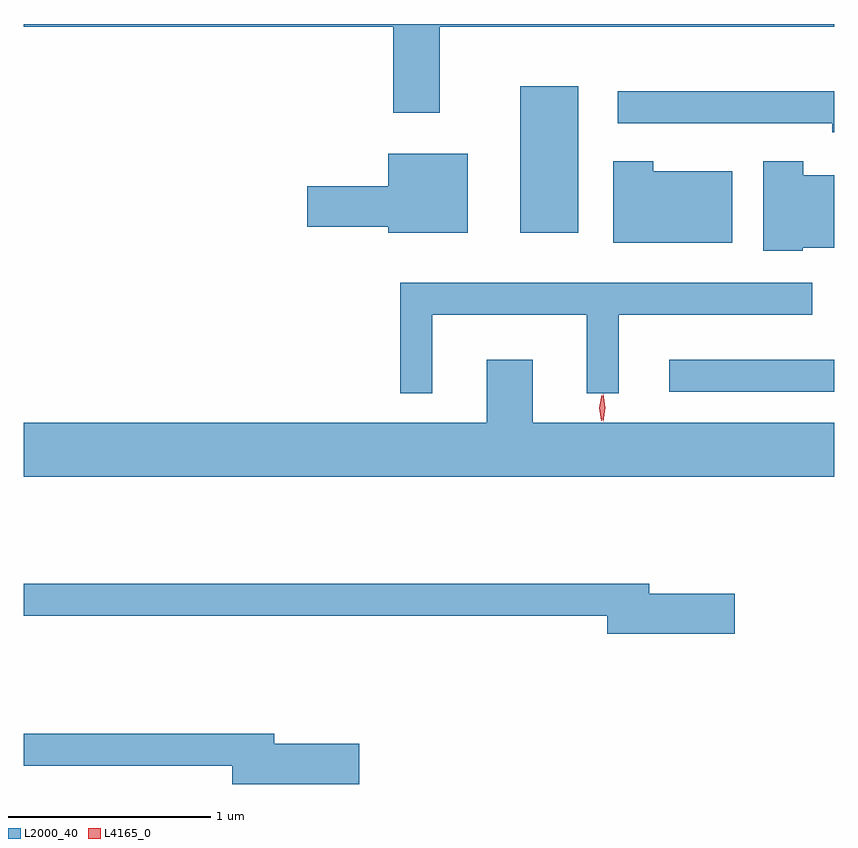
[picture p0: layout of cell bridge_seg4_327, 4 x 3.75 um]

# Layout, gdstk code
import gdstk
lib = gdstk.Library(unit=1e-6, precision=1e-09)
def R(c, l, rs):  # rectangles x0, y0, x1, y1
    for r in rs: c.add(gdstk.rectangle(r[:2], r[2:], *l))
def P(c, l, *ps):  # polygons
    for p in ps: c.add(gdstk.Polygon(p, *l))
L2000_40 = (2000, 40)
L4165_0 = (4165, 0)

bridge_seg4_327 = lib.new_cell('bridge_seg4_327')
R(bridge_seg4_327, L2000_40, [(726.913,1319.576,727.727,1319.734), (726.176,1320.361,726.464,1321.084)])
P(bridge_seg4_327, L2000_40, [(725.779,1321.376),(727.727,1321.376),(727.727,1321.39),(723.727,1321.39),(723.727,1321.376),(725.551,1321.376),(725.551,1320.951),(725.779,1320.951)],
  [(727.727,1321.059),(726.658,1321.059),(726.658,1320.901),(727.716,1320.901),(727.716,1320.856),(727.727,1320.856)],
  [(725.919,1320.749),(725.526,1320.749),(725.526,1320.589),(725.126,1320.589),(725.126,1320.391),(725.526,1320.391),(725.526,1320.361),(725.919,1320.361)],
  [(727.57,1320.286),(727.727,1320.286),(727.727,1320.644),(727.574,1320.644),(727.574,1320.714),(727.376,1320.714),(727.376,1320.271),(727.57,1320.271)],
  [(727.224,1320.664),(726.834,1320.664),(726.834,1320.714),(726.636,1320.714),(726.636,1320.311),(727.224,1320.311)],
  [(725.744,1319.956),(726.506,1319.956),(726.506,1319.568),(726.664,1319.568),(726.664,1319.956),(727.618,1319.956),(727.618,1320.114),(725.586,1320.114),(725.586,1319.568),(725.744,1319.568)],
  [(727.727,1319.424),(726.239,1319.424),(726.239,1319.734),(726.011,1319.734),(726.011,1319.424),(723.727,1319.424),(723.727,1319.156),(727.727,1319.156)],
  [(727.234,1318.579),(726.814,1318.579),(726.814,1318.629),(723.727,1318.629),(723.727,1318.471),(726.606,1318.471),(726.606,1318.381),(727.234,1318.381)],
  [(725.384,1317.839),(724.964,1317.839),(724.964,1317.889),(723.727,1317.889),(723.727,1317.731),(724.756,1317.731),(724.756,1317.641),(725.384,1317.641)])
P(bridge_seg4_327, L4165_0, [(726.586,1319.428),(726.586,1319.429),(726.576,1319.497),(726.586,1319.565),(726.586,1319.565),(726.587,1319.565),(726.596,1319.497),(726.587,1319.429)],
  [(726.578,1319.433),(726.577,1319.434),(726.568,1319.498),(726.578,1319.562),(726.579,1319.562),(726.579,1319.562),(726.588,1319.497),(726.578,1319.434)])

lib.write_gds('bridge_seg4_327.gds')
